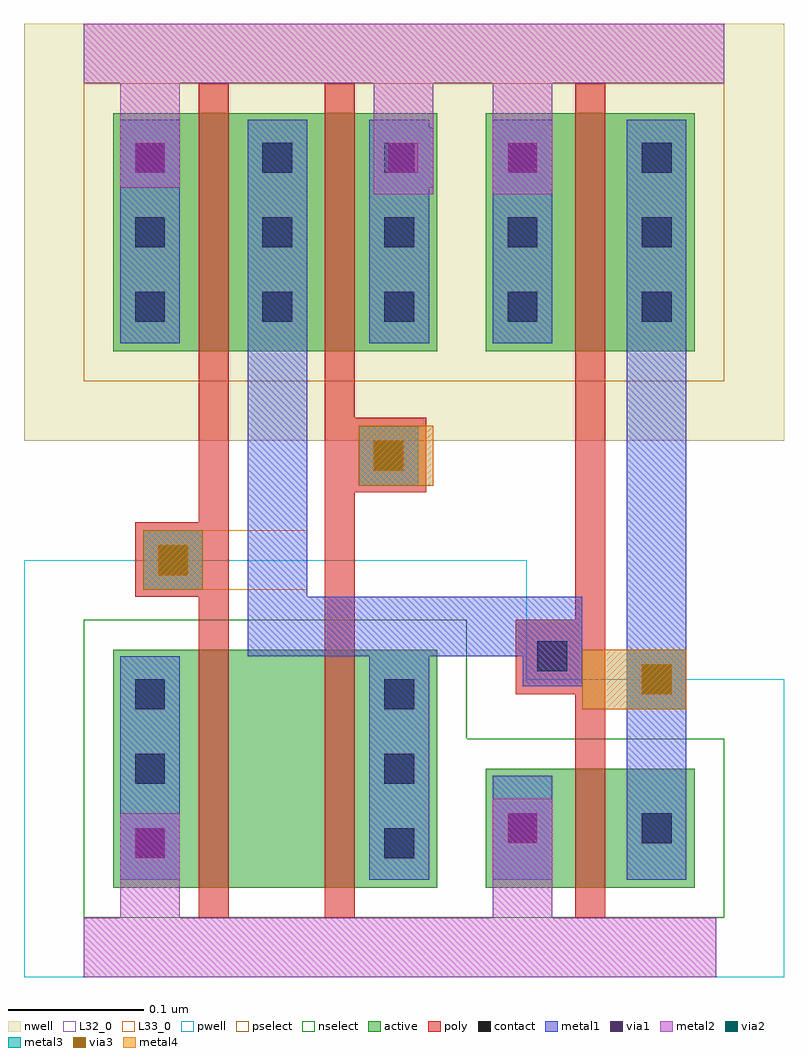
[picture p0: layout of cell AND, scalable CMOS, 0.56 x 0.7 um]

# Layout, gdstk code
import gdstk
lib = gdstk.Library(unit=1e-6, precision=1e-09)
def R(c, l, rs):  # rectangles x0, y0, x1, y1
    for r in rs: c.add(gdstk.rectangle(r[:2], r[2:], *l))
def A(c, l, x, y, w, h, nx, ny, dx, dy):  # array of equal rectangles
    R(c, l, [(x+i*dx, y+j*dy, x+i*dx+w, y+j*dy+h) for i in range(nx) for j in range(ny)])
contact = (25, 0)
via3 = (30, 0)
metal4 = (31, 0)
L32_0 = (32, 0)
L33_0 = (33, 0)
pwell = (41, 0)
nwell = (42, 0)
active = (43, 0)
pselect = (44, 0)
nselect = (45, 0)
poly = (46, 0)
metal1 = (49, 0)
via1 = (50, 0)
metal2 = (51, 0)
via2 = (61, 0)
metal3 = (62, 0)

and_ = lib.new_cell('AND')
A(and_, contact, -0.363, -0.286, 0.022, 0.022, 1, 3, 0, 0.055)
A(and_, contact, -0.179, -0.286, 0.022, 0.022, 1, 3, 0, 0.055)
A(and_, contact, -0.363, 0.11, 0.022, 0.022, 1, 3, 0, 0.055)
A(and_, contact, -0.269, 0.11, 0.022, 0.022, 1, 3, 0, 0.055)
A(and_, contact, -0.179, 0.11, 0.022, 0.022, 1, 3, 0, 0.055)
A(and_, contact, -0.088, 0.11, 0.022, 0.022, 1, 3, 0, 0.055)
A(and_, contact, 0.011, 0.11, 0.022, 0.022, 1, 3, 0, 0.055)
R(and_, contact, [(-0.088,-0.275,-0.066,-0.253), (0.011,-0.275,0.033,-0.253), (-0.066,-0.148,-0.044,-0.126), (-0.346,-0.077,-0.324,-0.055), (-0.187,0,-0.165,0.022)])
R(and_, via3, [(0.011,-0.165,0.033,-0.143), (-0.346,-0.077,-0.324,-0.055), (-0.187,0,-0.165,0.022)])
R(and_, metal4, [(-0.033,-0.176,0.044,-0.132), (0,-0.176,0.044,-0.132), (-0.357,-0.088,-0.313,-0.044), (-0.357,-0.088,-0.313,-0.044), (-0.352,-0.082,-0.319,-0.049), (-0.198,-0.011,-0.154,0.033), (-0.198,-0.011,-0.143,0.033)])
R(and_, L32_0, [(-0.346,-0.077,-0.324,-0.055)])
R(and_, L33_0, [(-0.357,-0.088,-0.313,-0.044), (-0.357,-0.088,-0.236,-0.044)])
R(and_, pwell, [(-0.445,-0.374,-0.258,-0.066), (-0.415,-0.374,-0.195,-0.066), (-0.335,-0.374,-0.17,-0.181), (-0.322,-0.374,-0.102,-0.066), (-0.261,-0.374,-0.074,-0.066), (-0.17,-0.374,0.017,-0.154), (-0.137,-0.374,0.083,-0.154), (-0.071,-0.374,0.116,-0.154), (-0.335,-0.346,-0.17,-0.066), (-0.069,-0.341,0.105,-0.176), (-0.165,-0.335,0.014,-0.17), (-0.429,-0.302,-0.264,-0.137), (-0.346,-0.302,-0.17,-0.137), (-0.335,-0.302,-0.17,-0.137), (-0.335,-0.302,-0.17,-0.099), (-0.253,-0.297,-0.088,-0.132), (-0.335,-0.264,-0.17,-0.066)])
A(and_, nwell, -0.352, 0.022, 0.187, 0.308, 3, 1, 0.091, 0)
R(and_, nwell, [(-0.445,0.022,-0.258,0.33), (-0.415,0.022,-0.195,0.33), (-0.322,0.022,-0.102,0.33), (-0.137,0.022,0.083,0.33), (-0.071,0.022,0.116,0.33), (-0.341,0.088,-0.173,0.253), (-0.434,0.094,-0.264,0.259), (-0.346,0.094,-0.176,0.259), (-0.253,0.099,-0.088,0.264), (-0.159,0.099,0.014,0.264), (-0.069,0.099,0.105,0.264)])
A(and_, active, -0.286, 0.088, 0.055, 0.176, 3, 1, 0.091, 0)
R(and_, active, [(-0.379,-0.308,-0.324,-0.132), (-0.349,-0.308,-0.261,-0.132), (-0.269,-0.308,-0.236,-0.247), (-0.256,-0.308,-0.168,-0.132), (-0.195,-0.308,-0.14,-0.132), (-0.104,-0.308,-0.049,-0.22), (-0.071,-0.308,0.017,-0.22), (-0.005,-0.308,0.05,-0.22), (-0.269,-0.28,-0.236,-0.132), (-0.003,-0.275,0.039,-0.242), (-0.099,-0.269,-0.052,-0.236), (-0.363,-0.236,-0.33,-0.203), (-0.28,-0.236,-0.236,-0.203), (-0.269,-0.236,-0.236,-0.203), (-0.269,-0.236,-0.236,-0.165), (-0.187,-0.231,-0.154,-0.198), (-0.269,-0.198,-0.236,-0.132), (-0.379,0.088,-0.324,0.264), (-0.349,0.088,-0.261,0.264), (-0.256,0.088,-0.168,0.264), (-0.071,0.088,0.017,0.264), (-0.005,0.088,0.05,0.264), (-0.275,0.154,-0.239,0.187), (-0.368,0.16,-0.33,0.193), (-0.28,0.16,-0.242,0.193), (-0.187,0.165,-0.154,0.198), (-0.093,0.165,-0.052,0.198), (-0.003,0.165,0.039,0.198)])
A(and_, pselect, -0.308, 0.066, 0.099, 0.22, 3, 1, 0.091, 0)
R(and_, pselect, [(-0.401,0.066,-0.302,0.286), (-0.371,0.066,-0.239,0.286), (-0.278,0.066,-0.146,0.286), (-0.093,0.066,0.039,0.286), (-0.027,0.066,0.072,0.286), (-0.297,0.132,-0.217,0.209), (-0.39,0.138,-0.308,0.215), (-0.302,0.138,-0.22,0.215), (-0.209,0.143,-0.132,0.22), (-0.115,0.143,-0.03,0.22), (-0.025,0.143,0.061,0.22)])
R(and_, nselect, [(-0.401,-0.33,-0.302,-0.11), (-0.371,-0.33,-0.239,-0.11), (-0.291,-0.33,-0.214,-0.225), (-0.278,-0.33,-0.146,-0.11), (-0.217,-0.33,-0.118,-0.11), (-0.126,-0.33,-0.027,-0.198), (-0.093,-0.33,0.039,-0.198), (-0.027,-0.33,0.072,-0.198), (-0.291,-0.302,-0.214,-0.11), (-0.025,-0.297,0.061,-0.22), (-0.121,-0.291,-0.03,-0.214), (-0.385,-0.258,-0.308,-0.181), (-0.302,-0.258,-0.214,-0.181), (-0.291,-0.258,-0.214,-0.181), (-0.291,-0.258,-0.214,-0.143), (-0.209,-0.253,-0.132,-0.176), (-0.291,-0.22,-0.214,-0.11)])
R(and_, poly, [(-0.316,-0.33,-0.294,-0.11), (-0.223,-0.33,-0.201,-0.11), (-0.038,-0.33,-0.016,-0.198), (-0.038,-0.209,-0.016,-0.132), (-0.082,-0.165,-0.027,-0.11), (-0.066,-0.154,-0.016,-0.132), (-0.038,-0.154,-0.016,0.077), (-0.316,-0.121,-0.294,-0.055), (-0.316,-0.121,-0.294,-0.099), (-0.223,-0.121,-0.201,0.028), (-0.223,-0.121,-0.201,-0.099), (-0.363,-0.093,-0.308,-0.038), (-0.352,-0.077,-0.294,-0.055), (-0.316,-0.077,-0.294,0.077), (-0.203,-0.016,-0.148,0.039), (-0.223,0.006,-0.165,0.028), (-0.223,0.006,-0.201,0.077), (-0.316,0.066,-0.294,0.286), (-0.223,0.066,-0.201,0.286), (-0.038,0.066,-0.016,0.286)])
R(and_, metal1, [(-0.374,-0.302,-0.33,-0.137), (-0.19,-0.302,-0.146,-0.137), (-0.099,-0.302,-0.055,-0.225), (0,-0.302,0.044,-0.225), (-0.374,-0.297,-0.33,-0.253), (-0.099,-0.286,-0.055,-0.242), (0,-0.28,0.044,-0.132), (-0.19,-0.242,-0.146,-0.093), (0,-0.176,0.044,-0.132), (0,-0.176,0.044,0.198), (0.006,-0.17,0.039,-0.137), (-0.077,-0.159,-0.033,-0.115), (-0.077,-0.154,-0.033,-0.093), (-0.28,-0.137,-0.236,0.198), (-0.28,-0.137,-0.146,-0.093), (-0.19,-0.137,-0.033,-0.093), (-0.357,-0.088,-0.313,-0.044), (-0.357,-0.088,-0.313,-0.044), (-0.352,-0.082,-0.319,-0.049), (-0.198,-0.011,-0.154,0.033), (-0.198,-0.011,-0.154,0.033), (-0.192,-0.005,-0.159,0.028), (-0.374,0.094,-0.33,0.259), (-0.28,0.094,-0.236,0.259), (-0.19,0.094,-0.146,0.259), (-0.099,0.094,-0.055,0.259), (0,0.094,0.044,0.259), (-0.168,0.204,-0.165,0.248), (-0.374,0.209,-0.33,0.253), (-0.187,0.209,-0.143,0.253), (-0.099,0.209,-0.055,0.253)])
R(and_, via1, [(-0.363,-0.286,-0.341,-0.264), (-0.088,-0.275,-0.066,-0.253), (0.011,-0.165,0.033,-0.143), (-0.346,-0.077,-0.324,-0.055), (-0.187,0,-0.165,0.022), (-0.363,0.22,-0.341,0.242), (-0.176,0.22,-0.154,0.242), (-0.088,0.22,-0.066,0.242)])
R(and_, metal2, [(-0.401,-0.374,-0.33,-0.33), (-0.374,-0.374,-0.33,-0.258), (-0.374,-0.374,-0.055,-0.33), (-0.099,-0.374,-0.055,-0.242), (-0.099,-0.374,0.066,-0.33), (-0.374,-0.297,-0.33,-0.253), (-0.099,-0.286,-0.055,-0.242), (0,-0.176,0.044,-0.132), (0,-0.176,0.044,-0.132), (0.006,-0.17,0.039,-0.137), (-0.357,-0.088,-0.313,-0.044), (-0.357,-0.088,-0.313,-0.044), (-0.352,-0.082,-0.319,-0.049), (-0.198,-0.011,-0.154,0.033), (-0.198,-0.011,-0.154,0.033), (-0.192,-0.005,-0.159,0.028), (-0.187,0.204,-0.143,0.33), (-0.099,0.204,-0.055,0.33), (-0.374,0.209,-0.33,0.253), (-0.374,0.209,-0.33,0.33), (-0.187,0.209,-0.143,0.253), (-0.099,0.209,-0.055,0.253), (-0.401,0.286,-0.33,0.33), (-0.374,0.286,-0.143,0.33), (-0.187,0.286,-0.055,0.33), (-0.099,0.286,0.072,0.33)])
R(and_, via2, [(0.011,-0.165,0.033,-0.143), (-0.346,-0.077,-0.324,-0.055), (-0.187,0,-0.165,0.022)])
R(and_, metal3, [(0,-0.176,0.044,-0.132), (0,-0.176,0.044,-0.132), (0.006,-0.17,0.039,-0.137), (-0.357,-0.088,-0.313,-0.044), (-0.357,-0.088,-0.313,-0.044), (-0.352,-0.082,-0.319,-0.049), (-0.198,-0.011,-0.154,0.033), (-0.198,-0.011,-0.154,0.033), (-0.192,-0.005,-0.159,0.028)])

lib.write_gds('AND.gds')
